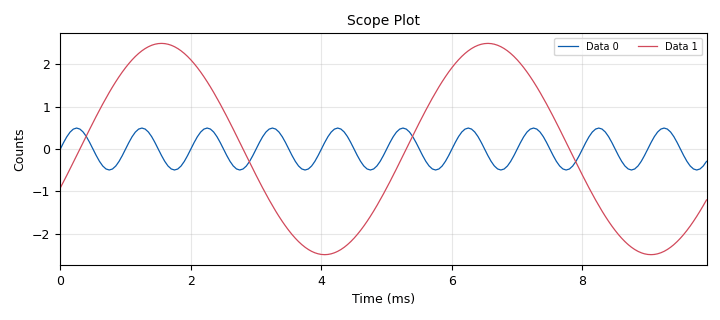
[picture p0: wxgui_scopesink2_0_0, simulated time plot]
<?xml version='1.0' encoding='utf-8'?>
<flow_graph>
<block>
<key>blocks_stream_to_vector</key>
<param><key>id</key><value>blocks_stream_to_vector_0</value></param>
<param><key>_enabled</key><value>False</value></param>
<param><key>type</key><value>float</value></param>
<param><key>num_items</key><value>555</value></param>
</block>
<block>
<key>variable</key>
<param><key>id</key><value>data_rate</value></param>
<param><key>value</key><value>40e3/2</value></param>
</block>
<block>
<key>variable</key>
<param><key>id</key><value>decimation</value></param>
<param><key>value</key><value>7</value></param>
</block>
<block>
<key>blocks_int_to_float</key>
<param><key>id</key><value>blocks_int_to_float_0</value></param>
<param><key>_enabled</key><value>False</value></param>
<param><key>scale</key><value>1</value></param>
</block>
<block>
<key>wxgui_scopesink2</key>
<param><key>id</key><value>wxgui_scopesink2_0_0</value></param>
<param><key>type</key><value>float</value></param>
<param><key>title</key><value>Scope Plot</value></param>
<param><key>samp_rate</key><value>data_rate</value></param>
<param><key>v_scale</key><value>0</value></param>
<param><key>v_offset</key><value>0</value></param>
<param><key>t_scale</key><value>0</value></param>
<param><key>ac_couple</key><value>False</value></param>
<param><key>xy_mode</key><value>False</value></param>
<param><key>num_inputs</key><value>2</value></param>
<param><key>win_size</key><value>300,100</value></param>
<param><key>grid_pos</key><value>1,2,1,1</value></param>
<param><key>trig_mode</key><value>wxgui.TRIG_MODE_AUTO</value></param>
<param><key>y_axis_label</key><value>Counts</value></param>
</block>
<block>
<key>wxgui_scopesink2</key>
<param><key>id</key><value>wxgui_scopesink2_0</value></param>
<param><key>_enabled</key><value>False</value></param>
<param><key>type</key><value>float</value></param>
<param><key>title</key><value>Scope Plot</value></param>
<param><key>samp_rate</key><value>data_rate</value></param>
<param><key>v_scale</key><value>0</value></param>
<param><key>v_offset</key><value>0</value></param>
<param><key>t_scale</key><value>0</value></param>
<param><key>ac_couple</key><value>False</value></param>
<param><key>xy_mode</key><value>False</value></param>
<param><key>num_inputs</key><value>2</value></param>
<param><key>trig_mode</key><value>wxgui.TRIG_MODE_AUTO</value></param>
<param><key>y_axis_label</key><value>Counts</value></param>
</block>
<block>
<key>DataConversion_eaver_ind_extractor</key>
<param><key>id</key><value>DataConversion_eaver_ind_extractor_0</value></param>
<param><key>_enabled</key><value>False</value></param>
</block>
<block>
<key>DataConversion_testader</key>
<param><key>id</key><value>DataConversion_testader_1</value></param>
<param><key>_enabled</key><value>False</value></param>
</block>
<block>
<key>blocks_int_to_float</key>
<param><key>id</key><value>blocks_int_to_float_0_0</value></param>
<param><key>_enabled</key><value>False</value></param>
<param><key>scale</key><value>1</value></param>
</block>
<block>
<key>analog_sig_source_x</key>
<param><key>id</key><value>analog_sig_source_x_0</value></param>
<param><key>type</key><value>float</value></param>
<param><key>samp_rate</key><value>data_rate</value></param>
<param><key>waveform</key><value>analog.GR_SIN_WAVE</value></param>
<param><key>freq</key><value>1000.03</value></param>
<param><key>amp</key><value>0.4955</value></param>
<param><key>offset</key><value>0</value></param>
</block>
<block>
<key>wxgui_scopesink2</key>
<param><key>id</key><value>wxgui_scopesink2_0_0_0</value></param>
<param><key>type</key><value>float</value></param>
<param><key>title</key><value>Scope Plot</value></param>
<param><key>samp_rate</key><value>data_rate/decimation</value></param>
<param><key>v_scale</key><value>0</value></param>
<param><key>v_offset</key><value>0</value></param>
<param><key>t_scale</key><value>0</value></param>
<param><key>ac_couple</key><value>False</value></param>
<param><key>xy_mode</key><value>False</value></param>
<param><key>num_inputs</key><value>1</value></param>
<param><key>win_size</key><value>300,100</value></param>
<param><key>grid_pos</key><value>1,1,1,1</value></param>
<param><key>trig_mode</key><value>wxgui.TRIG_MODE_AUTO</value></param>
<param><key>y_axis_label</key><value>Counts</value></param>
</block>
<block>
<key>baz_plot_sink</key>
<param><key>id</key><value>baz_plot_sink_1</value></param>
<param><key>_enabled</key><value>False</value></param>
<param><key>title</key><value>Plot</value></param>
<param><key>samp_rate</key><value>data_rate/(819*40)</value></param>
<param><key>y_per_div</key><value>20</value></param>
<param><key>y_divs</key><value>30</value></param>
<param><key>ref_level</key><value>32e3</value></param>
<param><key>data_len</key><value>2</value></param>
<param><key>win_size</key><value>300, 200</value></param>
<param><key>grid_pos</key><value>1,2,1,1</value></param>
</block>
<block>
<key>DataConversion_fir_filter</key>
<param><key>id</key><value>DataConversion_fir_filter_0</value></param>
<param><key>decim</key><value>decimation</value></param>
<param><key>taps</key><value>1, 0.1, 0.001</value></param>
</block>
<block>
<key>analog_sig_source_x</key>
<param><key>id</key><value>analog_sig_source_x_0_0</value></param>
<param><key>type</key><value>float</value></param>
<param><key>samp_rate</key><value>data_rate</value></param>
<param><key>waveform</key><value>analog.GR_SIN_WAVE</value></param>
<param><key>freq</key><value>200</value></param>
<param><key>amp</key><value>2.4955</value></param>
<param><key>offset</key><value>0</value></param>
</block>
<block>
<key>blocks_throttle</key>
<param><key>id</key><value>blocks_throttle_0_0</value></param>
<param><key>type</key><value>float</value></param>
<param><key>samples_per_second</key><value>data_rate</value></param>
</block>
<block>
<key>blocks_throttle</key>
<param><key>id</key><value>blocks_throttle_0</value></param>
<param><key>type</key><value>float</value></param>
<param><key>samples_per_second</key><value>data_rate</value></param>
</block>
<block>
<key>blocks_deinterleave</key>
<param><key>id</key><value>blocks_deinterleave_0</value></param>
<param><key>_enabled</key><value>False</value></param>
<param><key>type</key><value>short</value></param>
<param><key>num_streams</key><value>4</value></param>
</block>
<block>
<key>options</key>
<param><key>id</key><value>test_decim_block</value></param>
<param><key>title</key><value>Test for Custom Decimator block</value></param>
<param><key>generate_options</key><value>wx_gui</value></param>
<param><key>category</key><value>Custom</value></param>
<param><key>realtime_scheduling</key><value>1</value></param>
</block>
<connection><source_block_id>analog_sig_source_x_0</source_block_id><sink_block_id>blocks_throttle_0</sink_block_id><source_key>0</source_key><sink_key>0</sink_key></connection>
<connection><source_block_id>analog_sig_source_x_0_0</source_block_id><sink_block_id>blocks_throttle_0_0</sink_block_id><source_key>0</source_key><sink_key>0</sink_key></connection>
<connection><source_block_id>blocks_throttle_0</source_block_id><sink_block_id>wxgui_scopesink2_0_0</sink_block_id><source_key>0</source_key><sink_key>0</sink_key></connection>
<connection><source_block_id>blocks_throttle_0_0</source_block_id><sink_block_id>wxgui_scopesink2_0_0</sink_block_id><source_key>0</source_key><sink_key>1</sink_key></connection>
<connection><source_block_id>DataConversion_fir_filter_0</source_block_id><sink_block_id>wxgui_scopesink2_0_0_0</sink_block_id><source_key>0</source_key><sink_key>0</sink_key></connection>
<connection><source_block_id>blocks_throttle_0_0</source_block_id><sink_block_id>DataConversion_fir_filter_0</sink_block_id><source_key>0</source_key><sink_key>0</sink_key></connection>
<connection><source_block_id>DataConversion_eaver_ind_extractor_0</source_block_id><sink_block_id>wxgui_scopesink2_0</sink_block_id><source_key>0</source_key><sink_key>0</sink_key></connection>
<connection><source_block_id>DataConversion_eaver_ind_extractor_0</source_block_id><sink_block_id>wxgui_scopesink2_0</sink_block_id><source_key>1</source_key><sink_key>1</sink_key></connection>
</flow_graph>
